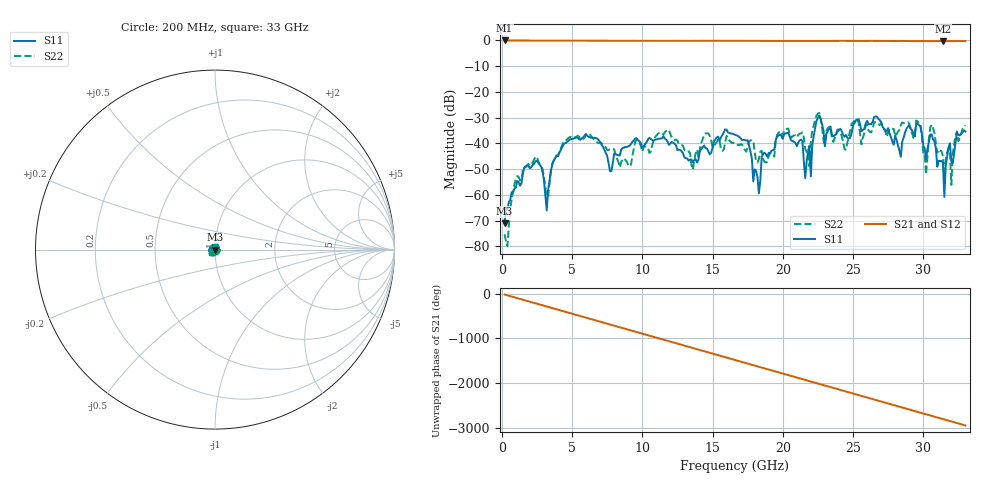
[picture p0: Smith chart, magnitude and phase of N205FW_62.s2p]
# GHZ S RI R 50
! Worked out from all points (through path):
!   329 points, 200 MHz to 33 GHz, reference 50 ohm
!   highest |S21| = -0.02 dB at 200 MHz (marker M1); lowest = -0.3 dB at 31.4 GHz (marker M2)
!   group delay of S21, straight-line fit = 248 ps
!   lowest |S11| = -71.0 dB at 200 MHz (marker M3), VSWR 1.00, Z = 50 + j0.0063 ohm
!   |S11| at or under -10 dB: start of sweep to end of sweep
!   |S22| runs from -79.9 to -28.2 dB; largest |S21 - S12| = 0.0022
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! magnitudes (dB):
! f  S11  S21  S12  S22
! 200 MHz  -71.0  0.0  0.0  -75.3
! 1.1 GHz  -54.6  -0.1  -0.1  -52.7
! 2.5 GHz  -46.8  -0.1  -0.1  -45.3
! 3.2 GHz  -66.0  -0.1  -0.1  -60.8
! 3.7 GHz  -46.7  -0.1  -0.1  -46.6
! 5.7 GHz  -38.1  -0.1  -0.1  -38.4
! 7.8 GHz  -50.8  -0.1  -0.1  -42.4
! 11.2 GHz  -38.2  -0.2  -0.2  -36.0
! 13.6 GHz  -47.3  -0.2  -0.2  -50.2
! 16.6 GHz  -36.7  -0.1  -0.1  -40.2
! 18.3 GHz  -59.4  -0.2  -0.2  -46.1
! 19.6 GHz  -37.4  -0.2  -0.2  -36.7
! 21.4 GHz  -39.1  -0.2  -0.2  -35.8
! 21.6 GHz  -53.5  -0.2  -0.2  -42.1
! 21.9 GHz  -40.9  -0.3  -0.3  -48.9
! 22.1 GHz  -40.8  -0.2  -0.2  -35.0
! 27.6 GHz  -36.1  -0.2  -0.2  -34.3
! 31.4 GHz  -47.5  -0.3  -0.3  -45.0
! 31.5 GHz  -60.8  -0.3  -0.3  -53.1
! 31.8 GHz  -41.6  -0.3  -0.3  -42.0
! 32 GHz  -47.2  -0.3  -0.3  -56.1
! 33 GHz  -35.4  -0.3  -0.3  -33.0
